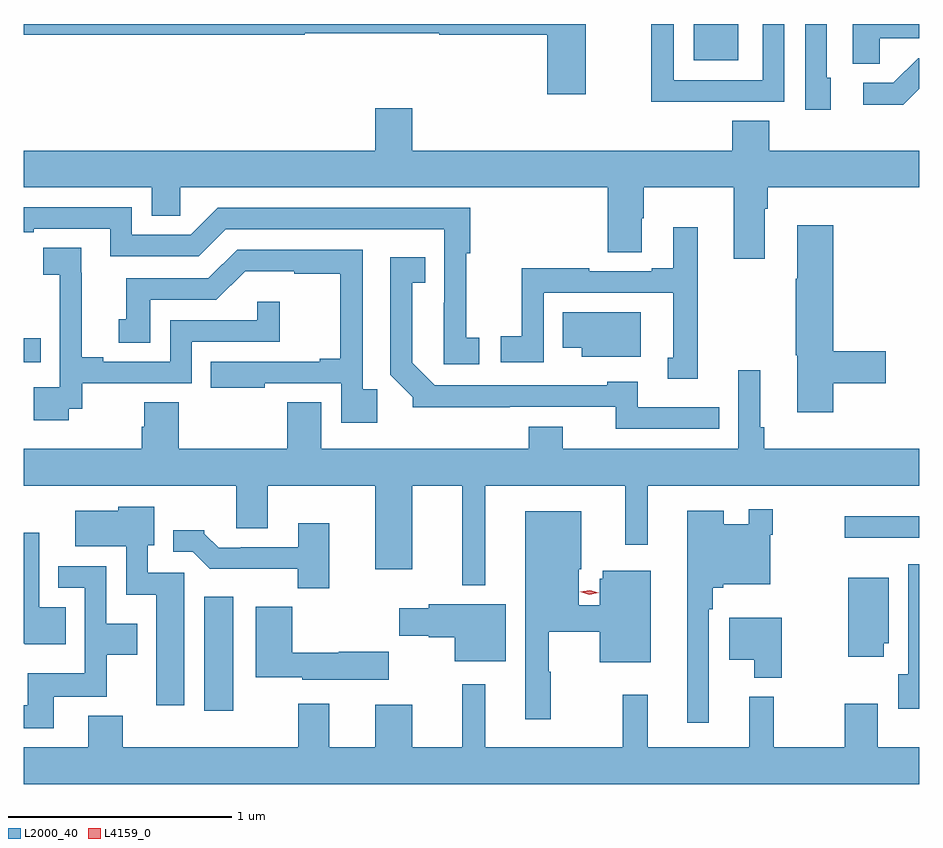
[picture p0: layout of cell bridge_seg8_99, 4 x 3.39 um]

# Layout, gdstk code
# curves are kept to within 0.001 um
import gdstk
lib = gdstk.Library(unit=1e-6, precision=1e-09)
def R(c, l, rs):  # rectangles x0, y0, x1, y1
    for r in rs: c.add(gdstk.rectangle(r[:2], r[2:], *l))
def P(c, l, *ps):  # polygons
    for p in ps: c.add(gdstk.Polygon(p, *l))
L2000_40 = (2000, 40)
L4159_0 = (4159, 0)

bridge_seg8_99 = lib.new_cell('bridge_seg8_99')
R(bridge_seg8_99, L2000_40, [(655.751,1139.472,655.882,1139.98), (658.611,1140.243,658.945,1140.34), (654.945,1141.026,655.022,1141.135), (657.938,1142.375,658.135,1142.537)])
P(bridge_seg8_99, L2000_40, [(658.767,1142.474),(658.945,1142.474),(658.945,1142.537),(658.646,1142.537),(658.646,1142.359),(658.767,1142.359)],
  [(658.549,1142.298),(658.53,1142.298),(658.53,1142.537),(658.434,1142.537),(658.434,1142.154),(658.549,1142.154)],
  [(658.025,1142.19),(658.341,1142.19),(658.341,1142.537),(658.245,1142.537),(658.245,1142.286),(657.849,1142.286),(657.849,1142.537),(657.748,1142.537),(657.748,1142.189),(658.025,1142.189)],
  [(657.454,1142.537),(654.945,1142.537),(654.945,1142.488),(656.2,1142.488),(656.2,1142.496),(656.8,1142.496),(656.8,1142.488),(657.284,1142.488),(657.284,1142.223),(657.454,1142.223)],
  [(658.945,1142.248),(658.945,1142.385),(658.94,1142.385),(658.829,1142.274),(658.695,1142.274),(658.695,1142.177),(658.873,1142.177)],
  [(658.255,1141.712),(658.268,1141.712),(658.268,1141.808),(658.945,1141.808),(658.945,1141.972),(658.274,1141.972),(658.274,1142.105),(658.109,1142.105),(658.109,1141.972),(656.68,1141.972),(656.68,1142.161),(656.516,1142.161),(656.516,1141.972),(654.945,1141.972),(654.945,1141.808),(655.517,1141.808),(655.517,1141.681),(655.644,1141.681),(655.644,1141.808),(657.554,1141.808),(657.554,1141.519),(657.706,1141.519),(657.706,1141.67),(657.714,1141.67),(657.714,1141.808),(658.115,1141.808),(658.115,1141.488),(658.255,1141.488)],
  [(656.98,1141.137),(656.922,1141.137),(656.922,1141.513),(656.939,1141.513),(656.939,1141.716),(655.812,1141.716),(655.692,1141.596),(655.428,1141.596),(655.428,1141.719),(654.945,1141.719),(654.945,1141.608),(654.991,1141.608),(654.991,1141.623),(655.332,1141.623),(655.332,1141.5),(655.728,1141.5),(655.848,1141.62),(656.823,1141.62),(656.822,1141.017),(656.98,1141.017)],
  [(658.559,1140.934),(658.795,1140.934),(658.795,1141.076),(658.559,1141.076),(658.559,1141.639),(658.4,1141.639),(658.4,1141.4),(658.393,1141.4),(658.393,1141.059),(658.4,1141.059),(658.4,1140.804),(658.559,1140.804)],
  [(657.955,1141.63),(657.845,1141.63),(657.845,1141.447),(657.749,1141.447),(657.749,1141.434),(657.47,1141.434),(657.47,1141.447),(657.169,1141.447),(657.169,1141.142),(657.075,1141.142),(657.075,1141.026),(657.267,1141.026),(657.267,1141.338),(657.845,1141.338),(657.845,1141.047),(657.821,1141.047),(657.821,1140.953),(657.955,1140.953)],
  [(655.146,1140.819),(655.208,1140.819),(655.208,1140.933),(655.695,1140.933),(655.695,1141.119),(656.09,1141.119),(656.09,1141.297),(655.989,1141.297),(655.989,1141.215),(655.599,1141.215),(655.599,1141.029),(655.3,1141.029),(655.3,1141.049),(655.204,1141.049),(655.204,1141.427),(655.202,1141.427),(655.202,1141.538),(655.032,1141.538),(655.032,1141.417),(655.106,1141.417),(655.106,1141.219),(655.107,1141.219),(655.107,1140.915),(654.99,1140.915),(654.99,1140.768),(655.146,1140.768)],
  [(656.525,1140.907),(656.46,1140.907),(656.46,1141.53),(655.899,1141.53),(655.77,1141.401),(655.403,1141.401),(655.403,1141.218),(655.37,1141.218),(655.37,1141.114),(655.51,1141.114),(655.51,1141.305),(655.806,1141.305),(655.934,1141.433),(656.153,1141.433),(656.153,1141.422),(656.359,1141.422),(656.359,1141.042),(656.267,1141.042),(656.267,1141.029),(655.78,1141.029),(655.78,1140.914),(656.023,1140.914),(656.023,1140.933),(656.364,1140.933),(656.364,1140.756),(656.525,1140.756)],
  [(658.052,1140.825),(657.688,1140.825),(657.688,1140.94),(657.552,1140.94),(657.552,1140.924),(656.781,1140.924),(656.68,1141.025),(656.68,1141.382),(656.738,1141.382),(656.738,1141.495),(656.583,1141.495),(656.583,1140.97),(656.682,1140.871),(656.682,1140.827),(657.589,1140.828),(657.589,1140.729),(658.052,1140.729)],
  [(657.7,1141.249),(657.352,1141.249),(657.352,1141.091),(657.437,1141.091),(657.437,1141.052),(657.7,1141.052)],
  [(657.007,1140.476),(657.632,1140.476),(657.632,1140.213),(657.731,1140.213),(657.731,1140.476),(658.945,1140.476),(658.945,1140.64),(658.253,1140.64),(658.253,1140.736),(658.234,1140.736),(658.234,1140.991),(658.137,1140.991),(658.137,1140.64),(657.352,1140.64),(657.352,1140.739),(657.2,1140.739),(657.2,1140.64),(656.275,1140.64),(656.275,1140.848),(656.123,1140.848),(656.123,1140.64),(655.637,1140.64),(655.637,1140.848),(655.484,1140.848),(655.484,1140.738),(655.472,1140.738),(655.472,1140.64),(654.945,1140.64),(654.945,1140.476),(655.895,1140.476),(655.895,1140.286),(656.035,1140.286),(656.035,1140.476),(656.516,1140.476),(656.516,1140.102),(656.68,1140.102),(656.68,1140.476),(656.903,1140.476),(656.903,1140.032),(657.007,1140.032)],
  [(655.663,1140.087),(655.5,1140.087),(655.5,1140.21),(655.528,1140.21),(655.528,1140.382),(655.368,1140.382),(655.368,1140.364),(655.176,1140.364),(655.176,1140.206),(655.404,1140.206),(655.404,1139.99),(655.538,1139.99),(655.538,1139.496),(655.663,1139.496)],
  [(658.005,1139.924),(658.023,1139.924),(658.023,1140.02),(658.068,1140.02),(658.068,1140.035),(658.278,1140.035),(658.278,1140.257),(658.291,1140.257),(658.291,1140.37),(658.182,1140.37),(658.182,1140.304),(658.072,1140.304),(658.072,1140.364),(657.908,1140.364),(657.908,1139.418),(658.005,1139.418)],
  [(657.299,1139.646),(657.289,1139.646),(657.289,1139.824),(657.518,1139.824),(657.518,1139.687),(657.745,1139.687),(657.745,1140.097),(657.53,1140.097),(657.53,1140.06),(657.518,1140.06),(657.518,1139.941),(657.424,1139.941),(657.424,1140.102),(657.436,1140.102),(657.436,1140.361),(657.185,1140.361),(657.185,1139.433),(657.299,1139.433)],
  [(656.311,1140.307),(656.171,1140.307),(656.171,1140.201),(655.915,1140.201),(655.915,1140.198),(655.816,1140.198),(655.752,1140.262),(655.752,1140.277),(655.613,1140.277),(655.613,1140.18),(655.701,1140.18),(655.777,1140.104),(656.169,1140.104),(656.169,1140.017),(656.311,1140.017)],
  [(655.133,1139.932),(655.015,1139.932),(655.015,1140.265),(654.945,1140.265),(654.945,1139.773),(654.95,1139.768),(655.133,1139.768)],
  [(658.945,1140.124),(658.895,1140.124),(658.895,1139.634),(658.85,1139.634),(658.85,1139.48),(658.945,1139.48)],
  [(655.081,1139.534),(655.317,1139.534),(655.317,1139.72),(655.453,1139.72),(655.453,1139.86),(655.314,1139.86),(655.314,1140.117),(655.101,1140.117),(655.101,1140.021),(655.218,1140.021),(655.218,1139.638),(654.965,1139.638),(654.965,1139.496),(654.945,1139.496),(654.945,1139.394),(655.081,1139.394)],
  [(658.786,1139.772),(658.807,1139.772),(658.807,1140.064),(658.628,1140.064),(658.628,1139.712),(658.786,1139.712)],
  [(657.097,1139.947),(656.754,1139.947),(656.754,1139.929),(656.622,1139.929),(656.622,1139.805),(656.754,1139.805),(656.754,1139.8),(656.87,1139.8),(656.87,1139.693),(657.097,1139.693)],
  [(656.575,1139.734),(656.352,1139.734),(656.352,1139.731),(656.144,1139.731),(656.144,1139.935),(655.982,1139.935),(655.982,1139.621),(656.19,1139.621),(656.19,1139.609),(656.575,1139.609)],
  [(658.33,1139.887),(658.095,1139.887),(658.095,1139.699),(658.208,1139.699),(658.208,1139.618),(658.33,1139.618)],
  [(658.945,1139.308),(658.759,1139.308),(658.759,1139.503),(658.612,1139.503),(658.612,1139.308),(658.294,1139.308),(658.294,1139.533),(658.184,1139.533),(658.184,1139.308),(657.731,1139.308),(657.731,1139.542),(657.621,1139.542),(657.621,1139.308),(657.007,1139.308),(657.007,1139.59),(656.903,1139.59),(656.903,1139.308),(656.68,1139.308),(656.68,1139.497),(656.516,1139.497),(656.516,1139.308),(656.311,1139.308),(656.311,1139.503),(656.171,1139.503),(656.171,1139.308),(655.388,1139.308),(655.388,1139.449),(655.235,1139.449),(655.235,1139.308),(654.945,1139.308),(654.945,1139.144),(658.945,1139.144)])
P(bridge_seg8_99, L4159_0, [(657.471,1139.99),(657.431,1140.002),(657.431,1140.002),(657.431,1140.002),(657.472,1140.01),(657.512,1139.998),(657.512,1139.998),(657.512,1139.997)])

lib.write_gds('bridge_seg8_99.gds')
